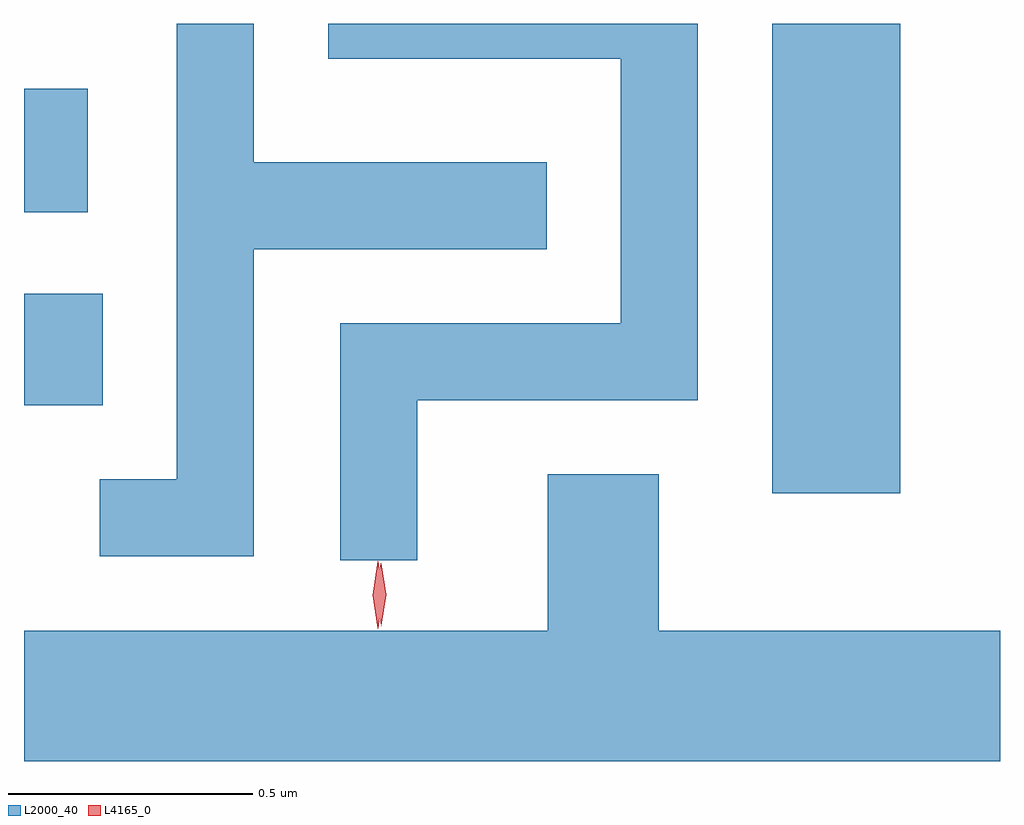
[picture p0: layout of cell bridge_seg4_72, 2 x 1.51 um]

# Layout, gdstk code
import gdstk
lib = gdstk.Library(unit=1e-6, precision=1e-09)
def R(c, l, rs):  # rectangles x0, y0, x1, y1
    for r in rs: c.add(gdstk.rectangle(r[:2], r[2:], *l))
def P(c, l, *ps):  # polygons
    for p in ps: c.add(gdstk.Polygon(p, *l))
L2000_40 = (2000, 40)
L4165_0 = (4165, 0)

bridge_seg4_72 = lib.new_cell('bridge_seg4_72')
R(bridge_seg4_72, L2000_40, [(1678.591,1259.766,1678.854,1260.728), (1677.058,1259.946,1677.219,1260.174), (1677.058,1260.341,1677.189,1260.594)])
P(bridge_seg4_72, L2000_40, [(1677.864,1259.956),(1678.439,1259.956),(1678.439,1260.728),(1677.681,1260.728),(1677.681,1260.656),(1678.281,1260.656),(1678.281,1260.114),(1677.706,1260.114),(1677.706,1259.628),(1677.864,1259.628)],
  [(1677.529,1260.266),(1678.129,1260.266),(1678.129,1260.444),(1677.529,1260.444),(1677.529,1260.728),(1677.371,1260.728),(1677.371,1259.794),(1677.213,1259.794),(1677.213,1259.636),(1677.529,1259.636)],
  [(1679.058,1259.484),(1678.359,1259.484),(1678.359,1259.804),(1678.131,1259.804),(1678.131,1259.484),(1677.058,1259.484),(1677.058,1259.216),(1679.058,1259.216)])
P(bridge_seg4_72, L4165_0, [(1677.783,1259.488),(1677.783,1259.489),(1677.773,1259.557),(1677.783,1259.626),(1677.783,1259.626),(1677.784,1259.626),(1677.793,1259.557),(1677.784,1259.489)],
  [(1677.79,1259.493),(1677.79,1259.494),(1677.78,1259.558),(1677.789,1259.622),(1677.79,1259.622),(1677.79,1259.622),(1677.8,1259.558),(1677.79,1259.494)])

lib.write_gds('bridge_seg4_72.gds')
